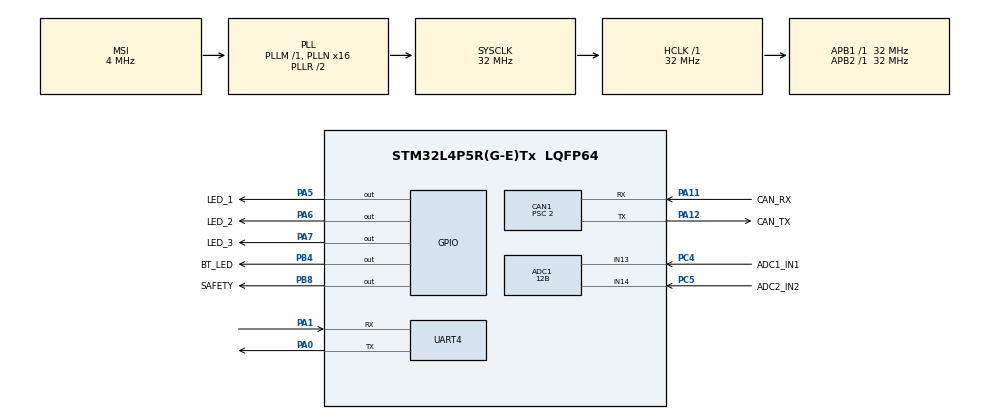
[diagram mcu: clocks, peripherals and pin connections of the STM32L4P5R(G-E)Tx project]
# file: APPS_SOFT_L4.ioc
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Mcu.Family=STM32L4
NVIC.ADC1_2_IRQn=true\:0\:0\:false\:false\:true\:true\:true
RCC.CortexFreq_Value=32000000
PH0-OSC_IN\ (PH0).Signal=RCC_OSC_IN
Dma.ADC1.0.Polarity=HAL_DMAMUX_REQ_GEN_RISING
PA11.Mode=CAN_Activate
PA6.GPIO_Label=LED_2
RCC.SYSCLKSource=RCC_SYSCLKSOURCE_PLLCLK
ProjectManager.StackSize=0x400
PA14\ (JTCK/SWCLK).Signal=SYS_JTCK-SWCLK
PA12.Signal=CAN1_TX
RCC.HCLKFreq_Value=32000000
ADC1.Resolution=ADC_RESOLUTION_12B
RCC.APB2TimFreq_Value=32000000
TIM3.Period=99
Dma.ADC1.0.Direction=DMA_PERIPH_TO_MEMORY
ADC1.Channel-2\#ChannelRegularConversion=ADC_CHANNEL_14
Dma.ADC1.0.MemDataAlignment=DMA_MDATAALIGN_HALFWORD
RCC.AHBFreq_Value=32000000
PH1-OSC_OUT\ (PH1).Mode=HSE-External-Oscillator
RCC.HSE_VALUE=16000000
ADC1.Rank-2\#ChannelRegularConversion=2
PC4.GPIO_Label=ADC1_IN1
TIM3.Prescaler=63
Dma.ADC1.0.PeriphInc=DMA_PINC_DISABLE
NVIC.TIM2_IRQn=true\:0\:0\:false\:false\:true\:true\:true
PA0.Mode=Asynchronous
PA14\ (JTCK/SWCLK).Mode=Serial_Wire
PA0.Signal=UART4_TX
CAN1.Prescaler=2
Mcu.Package=LQFP64
TIM2.Prescaler=3199
PA6.Signal=GPIO_Output
SH.ADCx_IN14.1=ADC1_IN14,IN14-Single-Ended
SH.ADCx_IN14.0=ADC2_IN14
ADC1.OffsetNumber-1\#ChannelRegularConversion=ADC_OFFSET_NONE
TIM2.TIM_MasterOutputTrigger=TIM_TRGO_UPDATE
RCC.APB1TimFreq_Value=32000000
PC5.Signal=ADCx_IN14
Dma.Request0=ADC1
CAN1.CalculateTimeBit=1000.00
PH0-OSC_IN\ (PH0).Mode=HSE-External-Oscillator
VP_TIM3_VS_ClockSourceINT.Mode=Internal
Dma.ADC1.0.EventEnable=DISABLE
RCC.HSI48_VALUE=48000000
CAN1.CalculateTimeQuantum=62.5
RCC.MSI_VALUE=4000000
RCC.PLLSourceVirtual=RCC_PLLSOURCE_HSE
SH.ADCx_IN13.0=ADC1_IN13,IN13-Single-Ended
Dma.ADC1.0.Instance=DMA1_Channel1
PA13\ (JTMS/SWDIO).Mode=Serial_Wire
Dma.ADC1.0.SyncRequestNumber=1
CAN1.CalculateBaudRate=1000000
PC4.Signal=ADCx_IN13
PA11.GPIO_Label=CAN_RX
PA12.GPIO_Label=CAN_TX
ADC1.SamplingTime-2\#ChannelRegularConversion=ADC_SAMPLETIME_2CYCLES_5
PH1-OSC_OUT\ (PH1).Signal=RCC_OSC_OUT
PB8.GPIO_Label=SAFETY
Dma.ADC1.0.PeriphDataAlignment=DMA_PDATAALIGN_HALFWORD
CAN1.BS2=CAN_BS2_2TQ
CAN1.BS1=CAN_BS1_13TQ
ProjectManager.TargetToolchain=STM32CubeIDE
Dma.ADC1.0.Mode=DMA_CIRCULAR
Dma.ADC1.0.SignalID=NONE
Dma.ADC1.0.SyncSignalID=NONE
Dma.ADC1.0.Priority=DMA_PRIORITY_HIGH
ADC1.Channel-1\#ChannelRegularConversion=ADC_CHANNEL_13
RCC.USBFreq_Value=32000000
RCC.LSE_VALUE=32768
PA1.Signal=UART4_RX
PA5.Signal=GPIO_Output
board=custom
RCC.VCOOutputFreq_Value=64000000
NVIC.TIM3_IRQn=true\:0\:0\:false\:false\:true\:true\:true
Dma.ADC1.0.SyncPolarity=HAL_DMAMUX_SYNC_NO_EVENT
RCC.APB2Freq_Value=32000000
PA1.Mode=Asynchronous
VP_TIM2_VS_ClockSourceINT.Mode=Internal
RCC.ADCFreq_Value=32000000
ADC1.DMAContinuousRequests=ENABLE
TIM2.Period=99
ADC1.NbrOfConversion=2
ADC1.OffsetNumber-2\#ChannelRegularConversion=ADC_OFFSET_NONE
Mcu.Name=STM32L4P5R(G-E)Tx
ADC1.ExternalTrigConv=ADC_EXTERNALTRIG_T3_TRGO
ADC1.SamplingTime-1\#ChannelRegularConversion=ADC_SAMPLETIME_2CYCLES_5
RCC.SYSCLKFreq_VALUE=32000000
RCC.PLLM2=2
RCC.PLLM1=2
PA7.GPIO_Label=LED_3
ADC1.master=1
PA12.Mode=CAN_Activate
PA5.GPIO_Label=LED_1
PC5.GPIO_Label=ADC2_IN2
ADC1.Rank-1\#ChannelRegularConversion=1
Dma.ADC1.0.RequestNumber=1
PA11.Signal=CAN1_RX
Dma.ADC1.0.SyncEnable=DISABLE
Dma.ADC1.0.MemInc=DMA_MINC_ENABLE
ProjectManager.HeapSize=0x200
RCC.HSI_VALUE=16000000
NVIC.PriorityGroup=NVIC_PRIORITYGROUP_4
ADC1.NbrOfConversionFlag=1
PB8.Signal=GPIO_Output
PB4\ (NJTRST).GPIO_Label=BT_LED
NVIC.DMA1_Channel1_IRQn=true\:0\:0\:false\:false\:true\:false\:true
TIM3.TIM_MasterOutputTrigger=TIM_TRGO_UPDATE
RCC.APB1Freq_Value=32000000
PA13\ (JTMS/SWDIO).Signal=SYS_JTMS-SWDIO
PA7.Signal=GPIO_Output
PB4\ (NJTRST).Signal=GPIO_Output

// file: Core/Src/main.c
/* USER CODE BEGIN Header */
/**
  ******************************************************************************
  * @file           : main.c
  * @brief          : Main program body
  ******************************************************************************
  * @attention
  *
  * <h2><center>&copy; Copyright (c) 2021 STMicroelectronics.
  * All rights reserved.</center></h2>
  *
  * This software component is licensed by ST under BSD 3-Clause license,
  * the "License"; You may not use this file except in compliance with the
  * License. You may obtain a copy of the License at:
  *                        opensource.org/licenses/BSD-3-Clause
  *
  ******************************************************************************
  */
/* USER CODE END Header */
#include "main.h"

/* USER CODE BEGIN Includes */
#include <stdlib.h>
#include "APPS_Meta.h"

/* USER CODE END Includes */

/* USER CODE BEGIN PD */
#define huart1 huart4
#define hcan hcan1
/* USER CODE END PD */

ADC_HandleTypeDef hadc1;
DMA_HandleTypeDef hdma_adc1;

CAN_HandleTypeDef hcan1;

TIM_HandleTypeDef htim2;
TIM_HandleTypeDef htim3;

UART_HandleTypeDef huart4;

/* USER CODE BEGIN PV */
CAN_FilterTypeDef sFilterConfig;

uint8_t send_CAN_frame;
uint16_t apps_val_raw[100];

uint32_t apps_temp_1 = 0;
uint32_t apps_temp_2 = 0;
uint16_t apps_temp_temp_1 = 0;
uint16_t apps_temp_temp_2 = 0;

uint8_t apps_data[8] = {0, 0, 0, 0, 0, 0, 0, 0};

uint8_t adc_cpl_flag = 0;

float factor_1 = 0.0f;
float factor_2 = 0.0f;
/* USER CODE END PV */

void SystemClock_Config(void);
static void MX_GPIO_Init(void);
static void MX_DMA_Init(void);
static void MX_ADC1_Init(void);
static void MX_CAN1_Init(void);
static void MX_UART4_Init(void);
static void MX_TIM2_Init(void);
static void MX_TIM3_Init(void);
/* USER CODE BEGIN PFP */
void My_CAN_init(void);
/* USER CODE END PFP */

/* USER CODE BEGIN 0 */
void HAL_ADC_ConvCpltCallback(ADC_HandleTypeDef *hadc) {
    adc_cpl_flag = 1;
}
/* USER CODE END 0 */

int main(void)
{

  /* MCU Configuration--------------------------------------------------------*/

  /* Reset of all peripherals, Initializes the Flash interface and the Systick. */
  HAL_Init();

  /* Configure the system clock */
  SystemClock_Config();

  /* Initialize all configured peripherals */
  MX_GPIO_Init();
  MX_DMA_Init();
  MX_ADC1_Init();
  MX_CAN1_Init();
  MX_UART4_Init();
  MX_TIM2_Init();
  MX_TIM3_Init();
  /* USER CODE BEGIN 2 */
  	  CAN_TxHeaderTypeDef tx_header_apps_data;
      tx_header_apps_data.StdId = APPS_CAN_ID;
      tx_header_apps_data.RTR = CAN_RTR_DATA;
      tx_header_apps_data.IDE = CAN_ID_STD;
      tx_header_apps_data.DLC = APPS_CAN_DLC;
      tx_header_apps_data.TransmitGlobalTime = DISABLE;
      uint32_t mail_data_apps = 0;

      factor_1 = (float) (((float) APPS_1_RAW_MAX - (float) APPS_1_RAW_MIN) / (float) APPS_REAL_MAX);
      factor_2 = (float) (((float) APPS_2_RAW_MAX - (float) APPS_2_RAW_MIN) / (float) APPS_REAL_MAX);

      // INIT OTHER STUFF

      // Turn on safety
      HAL_GPIO_WritePin(SAFETY_GPIO_Port, SAFETY_Pin, 1);

      My_CAN_init();

      HAL_ADC_Start_DMA(&hadc1, (uint32_t *) apps_val_raw, 100);
      HAL_TIM_Base_Start(&htim3);
      HAL_TIM_Base_Start_IT(&htim2);

      HAL_GPIO_WritePin(LED_1_GPIO_Port, LED_1_Pin, 1);
      HAL_GPIO_WritePin(LED_2_GPIO_Port, LED_2_Pin, 1);
      HAL_GPIO_WritePin(LED_3_GPIO_Port, LED_3_Pin, 1);
  /* USER CODE END 2 */

  /* Infinite loop */
  /* USER CODE BEGIN WHILE */
  while (1)
  {
	  if (send_CAN_frame == 1 && adc_cpl_flag == 1) {
	              send_CAN_frame = 0;
	              adc_cpl_flag = 0;

	              apps_temp_1 = 0;
	              apps_temp_2 = 0;

	              for (int i = 0; i < 100; i = i + 2) {
	                  apps_temp_1 += apps_val_raw[i];
	                  apps_temp_2 += apps_val_raw[i + 1];
	              }

	              apps_temp_1 = apps_temp_1 / 50;
	              apps_temp_2 = apps_temp_2 / 50;
	              /*
	               * check if APPS is not broken:
	               * 	- apps_read < APPS_RAW_MIN - 100
	               * 	- apps_read > APPS_RAW_MAX + 100
	               *
	               * */

	              if (apps_temp_1 < APPS_1_RAW_MIN || apps_temp_2 < APPS_2_RAW_MIN) {
	                  apps_temp_1 = APPS_REAL_MIN;
	                  apps_temp_2 = APPS_REAL_MIN;
	              } else if (apps_temp_1 > APPS_1_RAW_MAX || apps_temp_2 > APPS_2_RAW_MAX) {
	                  apps_temp_1 = APPS_REAL_MAX;
	                  apps_temp_2 = APPS_REAL_MAX;
	              } else {
	                  apps_temp_1 = (uint16_t) ((float) (apps_temp_1 - APPS_1_RAW_MIN) / factor_1);
	                  apps_temp_2 = (uint16_t) ((float) (apps_temp_2 - APPS_2_RAW_MIN) / factor_2);
	              }

	              apps_temp_temp_1 = apps_temp_1;
	              apps_temp_temp_2 = apps_temp_2;

	              // TODO change magic number
	              if ((abs(apps_temp_2 - apps_temp_1)) > apps_temp_1 * 0.1) {
	                  apps_temp_1 = 0;
	                  apps_temp_2 = 0;
	                  HAL_GPIO_WritePin(LED_1_GPIO_Port, LED_1_Pin, 0);
	              }
	              else{
	                  HAL_GPIO_WritePin(LED_1_GPIO_Port, LED_1_Pin, 1);
	              }

	              if (apps_temp_1 > APPS_REAL_MAX)
	                  apps_temp_1 = APPS_REAL_MAX;

	              if (apps_temp_2 > APPS_REAL_MAX)
	                  apps_temp_2 = APPS_REAL_MAX;

	              apps_data[0] = (uint8_t) (apps_temp_1 & 0x00FF);
	              apps_data[1] = (uint8_t) (apps_temp_1 >> 8);
	              HAL_CAN_AddTxMessage(&hcan, &tx_header_apps_data, apps_data, &mail_data_apps);

	              while (HAL_CAN_IsTxMessagePending(&hcan, mail_data_apps));
	              apps_data[0] = 0;
	              apps_data[1] = 0;
	          }
    /* USER CODE END WHILE */

  }
}

void SystemClock_Config(void)
{
  RCC_OscInitTypeDef RCC_OscInitStruct = {0};
  RCC_ClkInitTypeDef RCC_ClkInitStruct = {0};
  RCC_PeriphCLKInitTypeDef PeriphClkInit = {0};

  /** Configure the main internal regulator output voltage
  */
  if (HAL_PWREx_ControlVoltageScaling(PWR_REGULATOR_VOLTAGE_SCALE1) != HAL_OK)
  {
    Error_Handler();
  }
  /** Initializes the RCC Oscillators according to the specified parameters
  * in the RCC_OscInitTypeDef structure.
  */
  RCC_OscInitStruct.OscillatorType = RCC_OSCILLATORTYPE_MSI;
  RCC_OscInitStruct.MSIState = RCC_MSI_ON;
  RCC_OscInitStruct.MSICalibrationValue = 0;
  RCC_OscInitStruct.MSIClockRange = RCC_MSIRANGE_6;
  RCC_OscInitStruct.PLL.PLLState = RCC_PLL_ON;
  RCC_OscInitStruct.PLL.PLLSource = RCC_PLLSOURCE_MSI;
  RCC_OscInitStruct.PLL.PLLM = 1;
  RCC_OscInitStruct.PLL.PLLN = 16;
  RCC_OscInitStruct.PLL.PLLP = RCC_PLLP_DIV7;
  RCC_OscInitStruct.PLL.PLLQ = RCC_PLLQ_DIV2;
  RCC_OscInitStruct.PLL.PLLR = RCC_PLLR_DIV2;
  if (HAL_RCC_OscConfig(&RCC_OscInitStruct) != HAL_OK)
  {
    Error_Handler();
  }
  /** Initializes the CPU, AHB and APB buses clocks
  */
  RCC_ClkInitStruct.ClockType = RCC_CLOCKTYPE_HCLK|RCC_CLOCKTYPE_SYSCLK
                              |RCC_CLOCKTYPE_PCLK1|RCC_CLOCKTYPE_PCLK2;
  RCC_ClkInitStruct.SYSCLKSource = RCC_SYSCLKSOURCE_PLLCLK;
  RCC_ClkInitStruct.AHBCLKDivider = RCC_SYSCLK_DIV1;
  RCC_ClkInitStruct.APB1CLKDivider = RCC_HCLK_DIV1;
  RCC_ClkInitStruct.APB2CLKDivider = RCC_HCLK_DIV1;

  if (HAL_RCC_ClockConfig(&RCC_ClkInitStruct, FLASH_LATENCY_1) != HAL_OK)
  {
    Error_Handler();
  }
  PeriphClkInit.PeriphClockSelection = RCC_PERIPHCLK_UART4|RCC_PERIPHCLK_ADC;
  PeriphClkInit.Uart4ClockSelection = RCC_UART4CLKSOURCE_PCLK1;
  PeriphClkInit.AdcClockSelection = RCC_ADCCLKSOURCE_PLLSAI1;
  PeriphClkInit.PLLSAI1.PLLSAI1Source = RCC_PLLSOURCE_MSI;
  PeriphClkInit.PLLSAI1.PLLSAI1M = 1;
  PeriphClkInit.PLLSAI1.PLLSAI1N = 16;
  PeriphClkInit.PLLSAI1.PLLSAI1P = RCC_PLLP_DIV7;
  PeriphClkInit.PLLSAI1.PLLSAI1Q = RCC_PLLQ_DIV2;
  PeriphClkInit.PLLSAI1.PLLSAI1R = RCC_PLLR_DIV2;
  PeriphClkInit.PLLSAI1.PLLSAI1ClockOut = RCC_PLLSAI1_ADC1CLK;
  if (HAL_RCCEx_PeriphCLKConfig(&PeriphClkInit) != HAL_OK)
  {
    Error_Handler();
  }
}

static void MX_ADC1_Init(void)
{

  ADC_MultiModeTypeDef multimode = {0};
  ADC_ChannelConfTypeDef sConfig = {0};

  /** Common config
  */
  hadc1.Instance = ADC1;
  hadc1.Init.ClockPrescaler = ADC_CLOCK_ASYNC_DIV1;
  hadc1.Init.Resolution = ADC_RESOLUTION_12B;
  hadc1.Init.DataAlign = ADC_DATAALIGN_RIGHT;
  hadc1.Init.ScanConvMode = ADC_SCAN_ENABLE;
  hadc1.Init.EOCSelection = ADC_EOC_SINGLE_CONV;
  hadc1.Init.LowPowerAutoWait = DISABLE;
  hadc1.Init.ContinuousConvMode = DISABLE;
  hadc1.Init.NbrOfConversion = 2;
  hadc1.Init.DiscontinuousConvMode = DISABLE;
  hadc1.Init.ExternalTrigConv = ADC_EXTERNALTRIG_T3_TRGO;
  hadc1.Init.ExternalTrigConvEdge = ADC_EXTERNALTRIGCONVEDGE_RISING;
  hadc1.Init.DMAContinuousRequests = DISABLE;
  hadc1.Init.Overrun = ADC_OVR_DATA_PRESERVED;
  hadc1.Init.OversamplingMode = DISABLE;
  if (HAL_ADC_Init(&hadc1) != HAL_OK)
  {
    Error_Handler();
  }
  /** Configure the ADC multi-mode
  */
  multimode.Mode = ADC_MODE_INDEPENDENT;
  if (HAL_ADCEx_MultiModeConfigChannel(&hadc1, &multimode) != HAL_OK)
  {
    Error_Handler();
  }
  /** Configure Regular Channel
  */
  sConfig.Channel = ADC_CHANNEL_13;
  sConfig.Rank = ADC_REGULAR_RANK_1;
  sConfig.SamplingTime = ADC_SAMPLETIME_2CYCLES_5;
  sConfig.SingleDiff = ADC_SINGLE_ENDED;
  sConfig.OffsetNumber = ADC_OFFSET_NONE;
  sConfig.Offset = 0;
  if (HAL_ADC_ConfigChannel(&hadc1, &sConfig) != HAL_OK)
  {
    Error_Handler();
  }
  /** Configure Regular Channel
  */
  sConfig.Rank = ADC_REGULAR_RANK_2;
  if (HAL_ADC_ConfigChannel(&hadc1, &sConfig) != HAL_OK)
  {
    Error_Handler();
  }

}

static void MX_CAN1_Init(void)
{

  hcan1.Instance = CAN1;
  hcan1.Init.Prescaler = 16;
  hcan1.Init.Mode = CAN_MODE_NORMAL;
  hcan1.Init.SyncJumpWidth = CAN_SJW_1TQ;
  hcan1.Init.TimeSeg1 = CAN_BS1_1TQ;
  hcan1.Init.TimeSeg2 = CAN_BS2_1TQ;
  hcan1.Init.TimeTriggeredMode = DISABLE;
  hcan1.Init.AutoBusOff = DISABLE;
  hcan1.Init.AutoWakeUp = DISABLE;
  hcan1.Init.AutoRetransmission = DISABLE;
  hcan1.Init.ReceiveFifoLocked = DISABLE;
  hcan1.Init.TransmitFifoPriority = DISABLE;
  if (HAL_CAN_Init(&hcan1) != HAL_OK)
  {
    Error_Handler();
  }

}

static void MX_TIM2_Init(void)
{

  TIM_ClockConfigTypeDef sClockSourceConfig = {0};
  TIM_MasterConfigTypeDef sMasterConfig = {0};

  htim2.Instance = TIM2;
  htim2.Init.Prescaler = 3199;
  htim2.Init.CounterMode = TIM_COUNTERMODE_UP;
  htim2.Init.Period = 99;
  htim2.Init.ClockDivision = TIM_CLOCKDIVISION_DIV1;
  htim2.Init.AutoReloadPreload = TIM_AUTORELOAD_PRELOAD_DISABLE;
  if (HAL_TIM_Base_Init(&htim2) != HAL_OK)
  {
    Error_Handler();
  }
  sClockSourceConfig.ClockSource = TIM_CLOCKSOURCE_INTERNAL;
  if (HAL_TIM_ConfigClockSource(&htim2, &sClockSourceConfig) != HAL_OK)
  {
    Error_Handler();
  }
  sMasterConfig.MasterOutputTrigger = TIM_TRGO_UPDATE;
  sMasterConfig.MasterSlaveMode = TIM_MASTERSLAVEMODE_DISABLE;
  if (HAL_TIMEx_MasterConfigSynchronization(&htim2, &sMasterConfig) != HAL_OK)
  {
    Error_Handler();
  }

}

static void MX_TIM3_Init(void)
{

  TIM_ClockConfigTypeDef sClockSourceConfig = {0};
  TIM_MasterConfigTypeDef sMasterConfig = {0};

  htim3.Instance = TIM3;
  htim3.Init.Prescaler = 63;
  htim3.Init.CounterMode = TIM_COUNTERMODE_UP;
  htim3.Init.Period = 99;
  htim3.Init.ClockDivision = TIM_CLOCKDIVISION_DIV1;
  htim3.Init.AutoReloadPreload = TIM_AUTORELOAD_PRELOAD_DISABLE;
  if (HAL_TIM_Base_Init(&htim3) != HAL_OK)
  {
    Error_Handler();
  }
  sClockSourceConfig.ClockSource = TIM_CLOCKSOURCE_INTERNAL;
  if (HAL_TIM_ConfigClockSource(&htim3, &sClockSourceConfig) != HAL_OK)
  {
    Error_Handler();
  }
  sMasterConfig.MasterOutputTrigger = TIM_TRGO_UPDATE;
  sMasterConfig.MasterSlaveMode = TIM_MASTERSLAVEMODE_DISABLE;
  if (HAL_TIMEx_MasterConfigSynchronization(&htim3, &sMasterConfig) != HAL_OK)
  {
    Error_Handler();
  }

}

static void MX_UART4_Init(void)
{

  huart4.Instance = UART4;
  huart4.Init.BaudRate = 115200;
  huart4.Init.WordLength = UART_WORDLENGTH_8B;
  huart4.Init.StopBits = UART_STOPBITS_1;
  huart4.Init.Parity = UART_PARITY_NONE;
  huart4.Init.Mode = UART_MODE_TX_RX;
  huart4.Init.HwFlowCtl = UART_HWCONTROL_NONE;
  huart4.Init.OverSampling = UART_OVERSAMPLING_16;
  huart4.Init.OneBitSampling = UART_ONE_BIT_SAMPLE_DISABLE;
  huart4.Init.ClockPrescaler = UART_PRESCALER_DIV1;
  huart4.AdvancedInit.AdvFeatureInit = UART_ADVFEATURE_NO_INIT;
  if (HAL_UART_Init(&huart4) != HAL_OK)
  {
    Error_Handler();
  }
  if (HAL_UARTEx_SetTxFifoThreshold(&huart4, UART_TXFIFO_THRESHOLD_1_8) != HAL_OK)
  {
    Error_Handler();
  }
  if (HAL_UARTEx_SetRxFifoThreshold(&huart4, UART_RXFIFO_THRESHOLD_1_8) != HAL_OK)
  {
    Error_Handler();
  }
  if (HAL_UARTEx_DisableFifoMode(&huart4) != HAL_OK)
  {
    Error_Handler();
  }

}

static void MX_DMA_Init(void)
{

  /* DMA controller clock enable */
  __HAL_RCC_DMAMUX1_CLK_ENABLE();
  __HAL_RCC_DMA1_CLK_ENABLE();

  /* DMA interrupt init */
  /* DMA1_Channel1_IRQn interrupt configuration */
  HAL_NVIC_SetPriority(DMA1_Channel1_IRQn, 0, 0);
  HAL_NVIC_EnableIRQ(DMA1_Channel1_IRQn);

}

static void MX_GPIO_Init(void)
{
  GPIO_InitTypeDef GPIO_InitStruct = {0};

  /* GPIO Ports Clock Enable */
  __HAL_RCC_GPIOH_CLK_ENABLE();
  __HAL_RCC_GPIOA_CLK_ENABLE();
  __HAL_RCC_GPIOC_CLK_ENABLE();
  __HAL_RCC_GPIOB_CLK_ENABLE();

  /*Configure GPIO pin Output Level */
  HAL_GPIO_WritePin(GPIOA, LED_1_Pin|LED_2_Pin|LED_3_Pin, GPIO_PIN_RESET);

  /*Configure GPIO pin Output Level */
  HAL_GPIO_WritePin(GPIOB, BT_LED_Pin|SAFETY_Pin, GPIO_PIN_RESET);

  /*Configure GPIO pins : LED_1_Pin LED_2_Pin LED_3_Pin */
  GPIO_InitStruct.Pin = LED_1_Pin|LED_2_Pin|LED_3_Pin;
  GPIO_InitStruct.Mode = GPIO_MODE_OUTPUT_PP;
  GPIO_InitStruct.Pull = GPIO_NOPULL;
  GPIO_InitStruct.Speed = GPIO_SPEED_FREQ_LOW;
  HAL_GPIO_Init(GPIOA, &GPIO_InitStruct);

  /*Configure GPIO pin : ADC2_IN2_Pin */
  GPIO_InitStruct.Pin = ADC2_IN2_Pin;
  GPIO_InitStruct.Mode = GPIO_MODE_ANALOG_ADC_CONTROL;
  GPIO_InitStruct.Pull = GPIO_NOPULL;
  HAL_GPIO_Init(ADC2_IN2_GPIO_Port, &GPIO_InitStruct);

  /*Configure GPIO pins : BT_LED_Pin SAFETY_Pin */
  GPIO_InitStruct.Pin = BT_LED_Pin|SAFETY_Pin;
  GPIO_InitStruct.Mode = GPIO_MODE_OUTPUT_PP;
  GPIO_InitStruct.Pull = GPIO_NOPULL;
  GPIO_InitStruct.Speed = GPIO_SPEED_FREQ_LOW;
  HAL_GPIO_Init(GPIOB, &GPIO_InitStruct);

}

/* USER CODE BEGIN 4 */
void My_CAN_init(void) {
    sFilterConfig.FilterBank = 0;
    sFilterConfig.FilterMode = CAN_FILTERMODE_IDMASK;
    sFilterConfig.FilterScale = CAN_FILTERSCALE_32BIT;
    sFilterConfig.FilterIdHigh = 0x0000;
    sFilterConfig.FilterIdLow = 0x0000;
    sFilterConfig.FilterMaskIdHigh = 0x0000;
    sFilterConfig.FilterMaskIdLow = 0x0000;
    sFilterConfig.FilterFIFOAssignment = CAN_RX_FIFO0;
    sFilterConfig.FilterActivation = ENABLE;
    sFilterConfig.SlaveStartFilterBank = 14;

    if (HAL_CAN_ConfigFilter(&hcan, &sFilterConfig) != HAL_OK) {
        Error_Handler();
    }

    if (HAL_CAN_Start(&hcan) != HAL_OK) {
        Error_Handler();
    }

    if (HAL_CAN_ActivateNotification(&hcan, CAN_IT_RX_FIFO0_MSG_PENDING | CAN_IT_TX_MAILBOX_EMPTY) != HAL_OK) {
        Error_Handler();
    }
}
/* USER CODE END 4 */

void Error_Handler(void)
{
  __disable_irq();
  while (1)
  {
  }
}

/************************ (C) COPYRIGHT STMicroelectronics *****END OF FILE****/
